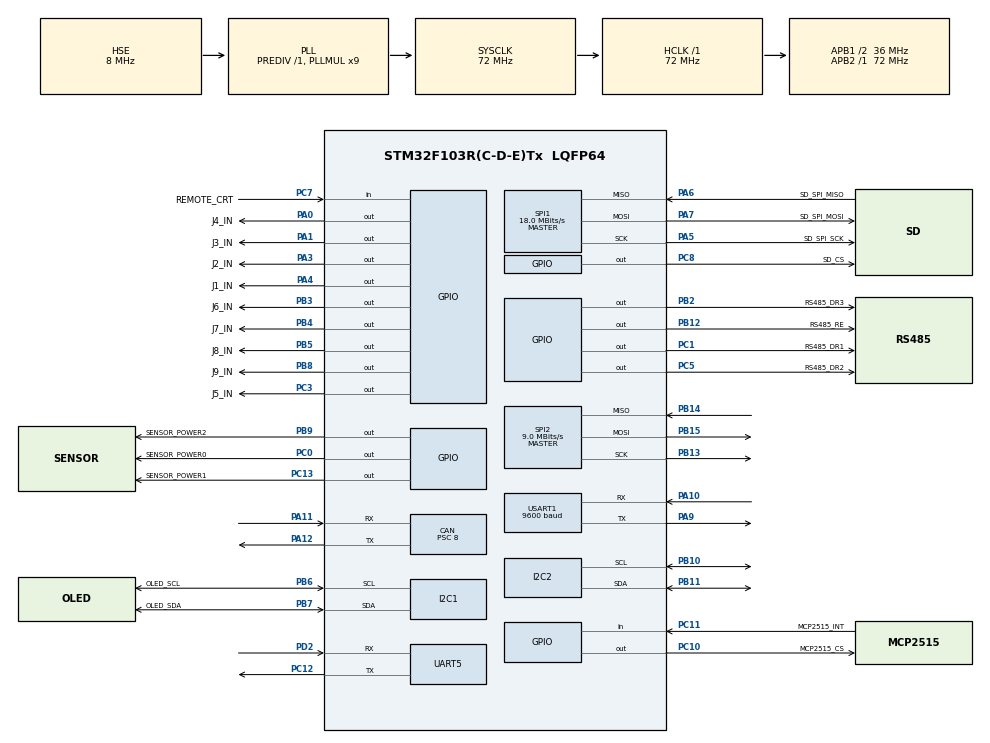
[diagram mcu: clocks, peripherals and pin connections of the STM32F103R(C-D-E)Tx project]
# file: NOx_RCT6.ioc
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CAN.BS1=CAN_BS1_15TQ
CAN.BS2=CAN_BS2_2TQ
CAN.CalculateBaudRate=250000
CAN.CalculateTimeBit=4000
CAN.CalculateTimeQuantum=222.22222222222223
CAN.Prescaler=8
FREERTOS.Tasks01=defaultTask,24,128,StartDefaultTask,Default,NULL,Dynamic,NULL,NULL;NOx_Default,24,256,NOxDefault,As weak,NULL,Dynamic,NULL,NULL;ModBus_Slave,32,256,ModBusSlave,As weak,NULL,Dynamic,NULL,NULL;NOx_Receive,24,256,NOxReceive,As weak,NULL,Dynamic,NULL,NULL;ModBus_Host,24,128,ModBusHost,As weak,NULL,Dynamic,NULL,NULL
FREERTOS.configTIMER_QUEUE_LENGTH=10
FREERTOS.configTIMER_TASK_PRIORITY=35
FREERTOS.configTIMER_TASK_STACK_DEPTH=1024
FREERTOS.configTOTAL_HEAP_SIZE=24000
I2C1.DutyCycle=I2C_DUTYCYCLE_2
I2C1.I2C_Mode=I2C_Fast
I2C2.I2C_Mode=I2C_Fast
Mcu.Family=STM32F1
Mcu.Name=STM32F103R(C-D-E)Tx
Mcu.Package=LQFP64
Mcu.UserConstants=RS4851,$$_USART1_IP_HANDLE_$$
NVIC.PriorityGroup=NVIC_PRIORITYGROUP_4
NVIC.TIM2_IRQn=true\:6\:0\:true\:false\:true\:true\:true\:true\:true
NVIC.TIM3_IRQn=true\:6\:0\:true\:false\:true\:true\:true\:true\:true
NVIC.TIM6_IRQn=true\:15\:0\:false\:false\:true\:false\:false\:true\:true
NVIC.TIM7_IRQn=true\:5\:0\:false\:false\:true\:true\:true\:true\:true
NVIC.TimeBase=TIM6_IRQn
NVIC.TimeBaseIP=TIM6
NVIC.UART5_IRQn=true\:5\:0\:false\:false\:true\:true\:true\:true\:true
NVIC.USART1_IRQn=true\:5\:0\:false\:false\:true\:true\:true\:true\:true
NVIC.USB_LP_CAN1_RX0_IRQn=true\:7\:0\:true\:false\:true\:true\:true\:true\:true
PA0-WKUP.GPIO_Label=J4_IN
PA0-WKUP.GPIO_ModeDefaultOutputPP=GPIO_MODE_OUTPUT_PP
PA0-WKUP.PinState=GPIO_PIN_RESET
PA0-WKUP.Signal=GPIO_Output
PA1.GPIO_Label=J3_IN
PA1.GPIO_ModeDefaultOutputPP=GPIO_MODE_OUTPUT_PP
PA1.PinState=GPIO_PIN_RESET
PA1.Signal=GPIO_Output
PA10.Mode=Asynchronous
PA10.Signal=USART1_RX
PA11.Mode=CAN_Activate
PA11.Signal=CAN_RX
PA12.Mode=CAN_Activate
PA12.Signal=CAN_TX
PA13.Mode=Serial_Wire
PA13.Signal=SYS_JTMS-SWDIO
PA14.Mode=Serial_Wire
PA14.Signal=SYS_JTCK-SWCLK
PA3.GPIO_Label=J2_IN
PA3.GPIO_ModeDefaultOutputPP=GPIO_MODE_OUTPUT_PP
PA3.PinState=GPIO_PIN_RESET
PA3.Signal=GPIO_Output
PA4.GPIO_Label=J1_IN
PA4.GPIO_ModeDefaultOutputPP=GPIO_MODE_OUTPUT_PP
PA4.PinState=GPIO_PIN_RESET
PA4.Signal=GPIO_Output
PA5.GPIO_Label=SD_SPI_SCK
PA5.Mode=Full_Duplex_Master
PA5.Signal=SPI1_SCK
PA6.GPIO_Label=SD_SPI_MISO
PA6.Mode=Full_Duplex_Master
PA6.Signal=SPI1_MISO
PA7.GPIO_Label=SD_SPI_MOSI
PA7.Mode=Full_Duplex_Master
PA7.Signal=SPI1_MOSI
PA9.Mode=Asynchronous
PA9.Signal=USART1_TX
PB10.Mode=I2C
PB10.Signal=I2C2_SCL
PB11.Mode=I2C
PB11.Signal=I2C2_SDA
PB12.GPIO_Label=RS485_RE
PB12.Signal=GPIO_Output
PB13.Mode=Full_Duplex_Master
PB13.Signal=SPI2_SCK
PB14.Mode=Full_Duplex_Master
PB14.Signal=SPI2_MISO
PB15.Mode=Full_Duplex_Master
PB15.Signal=SPI2_MOSI
PB2.GPIO_Label=RS485_DR3
PB2.GPIO_Speed=GPIO_SPEED_FREQ_HIGH
PB2.Signal=GPIO_Output
PB3.GPIO_Label=J6_IN
PB3.GPIO_ModeDefaultOutputPP=GPIO_MODE_OUTPUT_PP
PB3.PinState=GPIO_PIN_RESET
PB3.Signal=GPIO_Output
PB4.GPIO_Label=J7_IN
PB4.GPIO_ModeDefaultOutputPP=GPIO_MODE_OUTPUT_PP
PB4.PinState=GPIO_PIN_RESET
PB4.Signal=GPIO_Output
PB5.GPIO_Label=J8_IN
PB5.GPIO_ModeDefaultOutputPP=GPIO_MODE_OUTPUT_PP
PB5.PinState=GPIO_PIN_RESET
PB5.Signal=GPIO_Output
PB6.GPIO_Label=OLED_SCL
PB6.Mode=I2C
PB6.Signal=I2C1_SCL
PB7.GPIO_Label=OLED_SDA
PB7.Mode=I2C
PB7.Signal=I2C1_SDA
PB8.GPIO_Label=J9_IN
PB8.GPIO_ModeDefaultOutputPP=GPIO_MODE_OUTPUT_PP
PB8.PinState=GPIO_PIN_RESET
PB8.Signal=GPIO_Output
PB9.GPIO_Label=SENSOR_POWER2
PB9.GPIO_ModeDefaultOutputPP=GPIO_MODE_OUTPUT_PP
PB9.PinState=GPIO_PIN_RESET
PB9.Signal=GPIO_Output
PC0.GPIO_Label=SENSOR_POWER0
PC0.GPIO_ModeDefaultOutputPP=GPIO_MODE_OUTPUT_PP
PC0.PinState=GPIO_PIN_RESET
PC0.Signal=GPIO_Output
PC1.GPIO_Label=RS485_DR1
PC1.GPIO_Speed=GPIO_SPEED_FREQ_HIGH
PC1.Signal=GPIO_Output
PC10.GPIO_Label=MCP2515_CS
PC10.GPIO_ModeDefaultOutputPP=GPIO_MODE_OUTPUT_PP
PC10.GPIO_Speed=GPIO_SPEED_FREQ_HIGH
PC10.PinState=GPIO_PIN_SET
PC10.Signal=GPIO_Output
PC11.GPIO_Label=MCP2515_INT
PC11.GPIO_PuPd=GPIO_PULLUP
PC11.Signal=GPIO_Input
PC12.Mode=Asynchronous
PC12.Signal=UART5_TX
PC13-TAMPER-RTC.GPIO_Label=SENSOR_POWER1
PC13-TAMPER-RTC.GPIO_ModeDefaultOutputPP=GPIO_MODE_OUTPUT_PP
PC13-TAMPER-RTC.PinState=GPIO_PIN_RESET
PC13-TAMPER-RTC.Signal=GPIO_Output
PC3.GPIO_Label=J5_IN
PC3.GPIO_ModeDefaultOutputPP=GPIO_MODE_OUTPUT_PP
PC3.PinState=GPIO_PIN_RESET
PC3.Signal=GPIO_Output
PC5.GPIO_Label=RS485_DR2
PC5.GPIO_Speed=GPIO_SPEED_FREQ_HIGH
PC5.Signal=GPIO_Output
PC7.GPIO_Label=REMOTE_CRT
PC7.Signal=GPIO_Input
PC8.GPIO_Label=SD_CS
PC8.Signal=GPIO_Output
PD0-OSC_IN.Mode=HSE-External-Oscillator
PD0-OSC_IN.Signal=RCC_OSC_IN
PD1-OSC_OUT.Mode=HSE-External-Oscillator
PD1-OSC_OUT.Signal=RCC_OSC_OUT
PD2.Mode=Asynchronous
PD2.Signal=UART5_RX
ProjectManager.HeapSize=0x200
ProjectManager.StackSize=0x3000
ProjectManager.TargetToolchain=MDK-ARM V5.32
RCC.AHBFreq_Value=72000000
RCC.APB1CLKDivider=RCC_HCLK_DIV2
RCC.APB1Freq_Value=36000000
RCC.APB1TimFreq_Value=72000000
RCC.APB2Freq_Value=72000000
RCC.APB2TimFreq_Value=72000000
RCC.HCLKFreq_Value=72000000
RCC.PLLMUL=RCC_PLL_MUL9
RCC.PLLSourceVirtual=RCC_PLLSOURCE_HSE
RCC.SYSCLKFreq_VALUE=72000000
RCC.SYSCLKSource=RCC_SYSCLKSOURCE_PLLCLK
RCC.USBFreq_Value=72000000
SPI1.BaudRatePrescaler=SPI_BAUDRATEPRESCALER_4
SPI1.CalculateBaudRate=18.0 MBits/s
SPI1.Direction=SPI_DIRECTION_2LINES
SPI1.Mode=SPI_MODE_MASTER
SPI1.VirtualType=VM_MASTER
SPI2.BaudRatePrescaler=SPI_BAUDRATEPRESCALER_4
SPI2.CalculateBaudRate=9.0 MBits/s
SPI2.Direction=SPI_DIRECTION_2LINES
SPI2.Mode=SPI_MODE_MASTER
SPI2.VirtualType=VM_MASTER
TIM2.Prescaler=72-1
TIM3.Prescaler=72-1
TIM7.AutoReloadPreload=TIM_AUTORELOAD_PRELOAD_ENABLE
TIM7.Period=10000-1
TIM7.Prescaler=72-1
UART5.VirtualMode=Asynchronous
USART1.BaudRate=9600
USART1.VirtualMode=VM_ASYNC
VP_FATFS_VS_Generic.Mode=User_defined
VP_FREERTOS_VS_CMSIS_V2.Mode=CMSIS_V2
VP_SYS_VS_tim6.Mode=TIM6
VP_TIM2_VS_ClockSourceINT.Mode=Internal
VP_TIM3_VS_ClockSourceINT.Mode=Internal
VP_TIM7_VS_ClockSourceINT.Mode=Enable_Timer
board=custom

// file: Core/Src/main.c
/* USER CODE BEGIN Header */
/**
  ******************************************************************************
  * @file           : main.c
  * @brief          : Main program body
  ******************************************************************************
  * @attention
  *
  * Copyright (c) 2025 STMicroelectronics.
  * All rights reserved.
  *
  * This software is licensed under terms that can be found in the LICENSE file
  * in the root directory of this software component.
  * If no LICENSE file comes with this software, it is provided AS-IS.
  *
  ******************************************************************************
  */
/* USER CODE END Header */
#include "main.h"
#include "cmsis_os.h"
#include "can.h"
#include "fatfs.h"
#include "i2c.h"
#include "spi.h"
#include "tim.h"
#include "usart.h"
#include "gpio.h"

/* USER CODE BEGIN Includes */
#include "app_config.h"
#include "modbus.h"
#include "modbus_slave.h"
#include "modbus_host.h"
#include "J1939.h"
#include "sdcard.h"
// #include "oled.h"  /* OLED 已禁用 */
/* USER CODE END Includes */

/* USER CODE BEGIN PV */
/* TIM7 = 10 ms tick (tim.c); 100 ticks => time_1s / time_1s_blow increment. */
static uint32_t s_sys_tick_10ms;
uint32_t time_1s;
uint32_t time_1s_blow;
/* USER CODE END PV */

void SystemClock_Config(void);
void MX_FREERTOS_Init(void);

/* USER CODE BEGIN 0 */
#if RELAY_TEST_MODE
typedef struct {
  GPIO_TypeDef *port;
  uint16_t pin;
} RelayTestPin_t;

static const RelayTestPin_t s_relay_test_pins[] = {
  {J1_IN_GPIO_Port, J1_IN_Pin},
  {J2_IN_GPIO_Port, J2_IN_Pin},
  {J3_IN_GPIO_Port, J3_IN_Pin},
  {J4_IN_GPIO_Port, J4_IN_Pin},
  {J5_IN_GPIO_Port, J5_IN_Pin},
  {J6_IN_GPIO_Port, J6_IN_Pin},
  {J7_IN_GPIO_Port, J7_IN_Pin},
  {J8_IN_GPIO_Port, J8_IN_Pin},
  {J9_IN_GPIO_Port, J9_IN_Pin},
  {SENSOR_POWER0_GPIO_Port, SENSOR_POWER0_Pin}, /* JC1 */
  {SENSOR_POWER1_GPIO_Port, SENSOR_POWER1_Pin}, /* JC2 */
  {SENSOR_POWER2_GPIO_Port, SENSOR_POWER2_Pin}, /* JC3 */
};

static void RelayTest_SetAll(GPIO_PinState state)
{
  uint8_t i;

  for (i = 0u; i < (uint8_t)(sizeof(s_relay_test_pins) / sizeof(s_relay_test_pins[0])); i++) {
    HAL_GPIO_WritePin(s_relay_test_pins[i].port, s_relay_test_pins[i].pin, state);
  }
}

static void RelayTest_Run(void)
{
  uint8_t i;

  RelayTest_SetAll(GPIO_PIN_RESET);
  HAL_Delay(RELAY_TEST_STEP_MS);

  for (;;) {
    for (i = 0u; i < (uint8_t)(sizeof(s_relay_test_pins) / sizeof(s_relay_test_pins[0])); i++) {
      RelayTest_SetAll(GPIO_PIN_RESET);
      HAL_Delay(RELAY_TEST_GAP_MS);
      HAL_GPIO_WritePin(s_relay_test_pins[i].port, s_relay_test_pins[i].pin, GPIO_PIN_SET);
      HAL_Delay(RELAY_TEST_STEP_MS);
      HAL_GPIO_WritePin(s_relay_test_pins[i].port, s_relay_test_pins[i].pin, GPIO_PIN_RESET);
    }

    RelayTest_SetAll(GPIO_PIN_SET);
    HAL_Delay(RELAY_TEST_STEP_MS);
    RelayTest_SetAll(GPIO_PIN_RESET);
    HAL_Delay(RELAY_TEST_STEP_MS);
  }
}
#endif

/* USER CODE END 0 */

int main(void)
{

  /* USER CODE BEGIN 1 */
  //SCB->VTOR = FLASH_BASE | 0x00005000UL;/* жַ */
  /* USER CODE END 1 */

  /* MCU Configuration--------------------------------------------------------*/

  /* Reset of all peripherals, Initializes the Flash interface and the Systick. */
  HAL_Init();

  /* Configure the system clock */
  SystemClock_Config();

  /* Initialize all configured peripherals */
  MX_GPIO_Init();
#if RELAY_TEST_MODE
  RelayTest_Run();
#endif
  MX_USART1_UART_Init();
  MX_CAN_Init();
  MX_I2C1_Init();
  MX_I2C2_Init();
  MX_UART5_Init();
  MX_FATFS_Init();
  MX_TIM2_Init();
  MX_TIM7_Init();
  MX_SPI1_Init();
  MX_SPI2_Init();
  MX_TIM3_Init();
  /* USER CODE BEGIN 2 */

  HAL_TIM_Base_Stop_IT(&htim2);

  HAL_TIM_Base_Start_IT(&htim7);
  /* USER CODE END 2 */

  /* Init scheduler */
  osKernelInitialize();

  /* Call init function for freertos objects (in cmsis_os2.c) */
  MX_FREERTOS_Init();

  /* Start scheduler */
  osKernelStart();

  /* We should never get here as control is now taken by the scheduler */

  /* Infinite loop */
  while (1)
  {

  }
}

void SystemClock_Config(void)
{
  RCC_OscInitTypeDef RCC_OscInitStruct = {0};
  RCC_ClkInitTypeDef RCC_ClkInitStruct = {0};

  /** Initializes the RCC Oscillators according to the specified parameters
  * in the RCC_OscInitTypeDef structure.
  */
  RCC_OscInitStruct.OscillatorType = RCC_OSCILLATORTYPE_HSE;
  RCC_OscInitStruct.HSEState = RCC_HSE_ON;
  RCC_OscInitStruct.HSEPredivValue = RCC_HSE_PREDIV_DIV1;
  RCC_OscInitStruct.HSIState = RCC_HSI_ON;
  RCC_OscInitStruct.PLL.PLLState = RCC_PLL_ON;
  RCC_OscInitStruct.PLL.PLLSource = RCC_PLLSOURCE_HSE;
  RCC_OscInitStruct.PLL.PLLMUL = RCC_PLL_MUL9;
  if (HAL_RCC_OscConfig(&RCC_OscInitStruct) != HAL_OK)
  {
    Error_Handler();
  }

  /** Initializes the CPU, AHB and APB buses clocks
  */
  RCC_ClkInitStruct.ClockType = RCC_CLOCKTYPE_HCLK|RCC_CLOCKTYPE_SYSCLK
                              |RCC_CLOCKTYPE_PCLK1|RCC_CLOCKTYPE_PCLK2;
  RCC_ClkInitStruct.SYSCLKSource = RCC_SYSCLKSOURCE_PLLCLK;
  RCC_ClkInitStruct.AHBCLKDivider = RCC_SYSCLK_DIV1;
  RCC_ClkInitStruct.APB1CLKDivider = RCC_HCLK_DIV2;
  RCC_ClkInitStruct.APB2CLKDivider = RCC_HCLK_DIV1;

  if (HAL_RCC_ClockConfig(&RCC_ClkInitStruct, FLASH_LATENCY_2) != HAL_OK)
  {
    Error_Handler();
  }
}

void HAL_TIM_PeriodElapsedCallback(TIM_HandleTypeDef *htim)
{
  if (htim->Instance == TIM6) {
    HAL_IncTick();
  }
  /* USER CODE BEGIN Callback 1 */
  /* TIM7: 10 ms base; 100 ticks = 1 s (see MX_TIM7_Init Period/Prescaler). */
  if (htim->Instance == TIM7) {
    if (++s_sys_tick_10ms >= 100u) {
      s_sys_tick_10ms = 0u;
      time_1s++;
      time_1s_blow++;
    }
  }
  /* Modbus RX frame gap timeout: slave uses RX_TIMER, host uses RX_TIMER_H (modbus.h). */
  if (MODBUS_IS_SLAVE_RX_TIMEOUT_HTIM(htim)) {
    if (s_TIM_CallBack1 != NULL) {
      s_TIM_CallBack1();
      HAL_TIM_Base_Stop_IT(&RX_TIMER);
    }
  } else if (MODBUS_IS_HOST_RX_TIMEOUT_HTIM(htim)) {
    if (s_TIM_CallBack2 != NULL) {
      s_TIM_CallBack2();
      HAL_TIM_Base_Stop_IT(&RX_TIMER_H);
    }
  }
  /* USER CODE END Callback 1 */
}

void Error_Handler(void)
{
  __disable_irq();
  while (1)
  {
  }
}

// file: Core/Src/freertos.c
/* USER CODE BEGIN Header */
/**
  ******************************************************************************
  * File Name          : freertos.c
  * Description        : Code for freertos applications
  ******************************************************************************
  * @attention
  *
  * Copyright (c) 2025 STMicroelectronics.
  * All rights reserved.
  *
  * This software is licensed under terms that can be found in the LICENSE file
  * in the root directory of this software component.
  * If no LICENSE file comes with this software, it is provided AS-IS.
  *
  ******************************************************************************
  */
/* USER CODE END Header */

#include "FreeRTOS.h"
#include "task.h"
#include "main.h"
#include "cmsis_os.h"

/* USER CODE BEGIN Includes */
#include "J1939.H"
#include <string.h>
#include <stdio.h>
#include "NOx.h"
#include "mcp2515_spi_can.h"
#include "oled.h"
#include "sdcard.h"
#include "modbus_slave.h"
#include "app_config.h"
/* USER CODE END Includes */

/* USER CODE BEGIN PD */
/* 1 = 仅跑 defaultTask：片内 CAN + MCP2515 周期发送加热帧 */
#define CAN_HEATER_TX_TEST_MODE 0
#define CAN_HEATER_TX_TEST_PERIOD_MS 100u
#define MCP2515_REINIT_PERIOD_MS 1000u

/* USER CODE END PD */

/* USER CODE BEGIN Variables */
char buffer[30];
char SD_FileName[] = "config.txt";
uint8_t WriteBuffer[] = "baudrate=115200\r\n";
/* USER CODE END Variables */
/* Definitions for defaultTask */
osThreadId_t defaultTaskHandle;
const osThreadAttr_t defaultTask_attributes = {
  .name = "defaultTask",
  .stack_size = 128 * 4,
  .priority = (osPriority_t) osPriorityNormal,
};
/* Definitions for NOx_Default */
osThreadId_t NOx_DefaultHandle;
const osThreadAttr_t NOx_Default_attributes = {
  .name = "NOx_Default",
  .stack_size = 1024 * 4,
  .priority = (osPriority_t) osPriorityNormal,
};
/* Definitions for ModBus_Slave */
osThreadId_t ModBus_SlaveHandle;
const osThreadAttr_t ModBus_Slave_attributes = {
  .name = "ModBus_Slave",
  .stack_size = 1024 * 4,
  .priority = (osPriority_t) osPriorityAboveNormal,
};
/* Definitions for NOx_Receive */
osThreadId_t NOx_ReceiveHandle;
const osThreadAttr_t NOx_Receive_attributes = {
  .name = "NOx_Receive",
  .stack_size = 1536 * 4,
  .priority = (osPriority_t) osPriorityAboveNormal,
};
/* Definitions for ModBus_Host */
osThreadId_t ModBus_HostHandle;
const osThreadAttr_t ModBus_Host_attributes = {
  .name = "ModBus_Host",
  .stack_size = 128 * 4,
  .priority = (osPriority_t) osPriorityNormal,
};

void StartDefaultTask(void *argument);
void NOxDefault(void *argument);
void ModBusSlave(void *argument);
void NOxReceive(void *argument);
void ModBusHost(void *argument);

void MX_FREERTOS_Init(void); /* (MISRA C 2004 rule 8.1) */

void MX_FREERTOS_Init(void) {
  /* USER CODE BEGIN Init */
#if CAN_HEATER_TX_TEST_MODE
  /*
   * CAN/MCP 初始化放在 StartDefaultTask 里（调度器已运行后再做）。
   * 原因：若放在此处，J1939_Initialization 里已 Start CAN，RX 中断可能在
   * vTaskStartScheduler 之前进 FromISR；且 MCP2515_Init 里 HAL_Delay 依赖 TIM6，
   * 任一环节卡死都会表现为「永远进不了 StartDefaultTask」（其实尚未 osThreadNew）。
   */
#else

#if APP_USE_OLED
  OLED_Init();
  OLED_PrintASCIIString(0, 30, "waiting sd ", &afont16x8, OLED_COLOR_REVERSED);
  OLED_ShowFrame();
#else
#endif
  //WritetoSD(SD_FileName,WriteBuffer, sizeof(WriteBuffer));
  handleConfig();

  J1939_Initialization();
	// ????????????????????????????????????????????
	g_hVarMutex = xSemaphoreCreateRecursiveMutex();
	configASSERT(g_hVarMutex != NULL);
//  HAL_CAN_Start(&hcan);
//
//  HAL_CAN_ActivateNotification(&hcan, CAN_IT_RX_FIFO0_MSG_PENDING);
#endif

  /* USER CODE END Init */

  /* Create the thread(s) */
  /* creation of defaultTask */
  defaultTaskHandle = osThreadNew(StartDefaultTask, NULL, &defaultTask_attributes);
  configASSERT(defaultTaskHandle != NULL);

#if !CAN_HEATER_TX_TEST_MODE
  /* creation of NOx_Default */
  NOx_DefaultHandle = osThreadNew(NOxDefault, NULL, &NOx_Default_attributes);
  configASSERT(NOx_DefaultHandle != NULL);

  /* creation of ModBus_Slave */
  ModBus_SlaveHandle = osThreadNew(ModBusSlave, NULL, &ModBus_Slave_attributes);
  configASSERT(ModBus_SlaveHandle != NULL);

  /* creation of NOx_Receive */
  NOx_ReceiveHandle = osThreadNew(NOxReceive, NULL, &NOx_Receive_attributes);
  configASSERT(NOx_ReceiveHandle != NULL);

  /* creation of ModBus_Host */
  ModBus_HostHandle = osThreadNew(ModBusHost, NULL, &ModBus_Host_attributes);
  configASSERT(ModBus_HostHandle != NULL);
#endif

}

void StartDefaultTask(void *argument)
{
  /* USER CODE BEGIN StartDefaultTask */
#if CAN_HEATER_TX_TEST_MODE
  J1939_Initialization();
  uint32_t last_mcp_try_tick = 0U;
  TickType_t last_wake_tick = xTaskGetTickCount();
  (void)MCP2515_Init(MCP2515_BAUD_250K);
  J1939_MESSAGE tx_msg;
  TxMsg_Init(&tx_msg);
#endif
  /* Infinite loop */
  for(;;)
  {
#if CAN_HEATER_TX_TEST_MODE
    J1939_CAN_Transmit(&tx_msg);
    if (!MCP2515_IsReady()) {
      uint32_t now = HAL_GetTick();
      if ((now - last_mcp_try_tick) >= MCP2515_REINIT_PERIOD_MS) {
        last_mcp_try_tick = now;
        (void)MCP2515_Init(MCP2515_BAUD_250K);
      }
    } else {
      MCP2515_CAN_Frame_t mcp_heater;
      mcp_heater.id = J1939_HEATER_CAN_ID;
      mcp_heater.is_ext_id = true;
      mcp_heater.len = 8;
      for (int i = 0; i < 8; i++) {
        mcp_heater.data[i] = tx_msg.Mxe.Data[i];
      }
      (void)MCP2515_Send(&mcp_heater);
    }
    vTaskDelayUntil(&last_wake_tick, pdMS_TO_TICKS(CAN_HEATER_TX_TEST_PERIOD_MS));
#else
    vTaskDelay(pdMS_TO_TICKS(100));
#endif
  }
  /* USER CODE END StartDefaultTask */
}

__weak void NOxDefault(void *argument)
{
  for(;;)
  {
    osDelay(1);
  }
}

__weak void ModBusSlave(void *argument)
{
  for(;;)
  {
    osDelay(1);
  }
}

__weak void NOxReceive(void *argument)
{
  for(;;)
  {
    osDelay(1);
  }
}

__weak void ModBusHost(void *argument)
{
  for(;;)
  {
    osDelay(1);
  }
}
